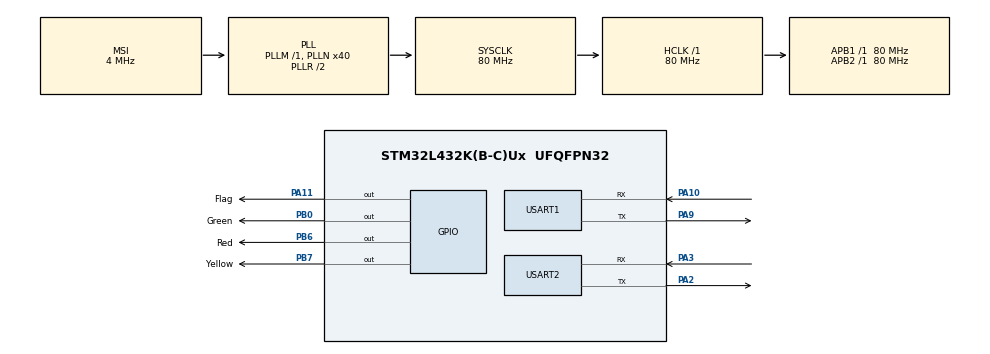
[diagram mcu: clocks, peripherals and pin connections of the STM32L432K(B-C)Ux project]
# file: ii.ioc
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FREERTOS.Tasks01=defaultTask,24,128,StartDefaultTask,Default,NULL,Dynamic,NULL,NULL;TrafficLights,8,128,StartTask02,Default,NULL,Dynamic,NULL,NULL;myTask03,46,128,Answer,Default,NULL,Dynamic,NULL,NULL
Mcu.Family=STM32L4
Mcu.Name=STM32L432K(B-C)Ux
Mcu.Package=UFQFPN32
NVIC.PriorityGroup=NVIC_PRIORITYGROUP_4
NVIC.TIM1_UP_TIM16_IRQn=true\:15\:0\:false\:false\:true\:false\:false\:true
NVIC.TimeBase=TIM1_UP_TIM16_IRQn
NVIC.TimeBaseIP=TIM1
NVIC.USART1_IRQn=true\:5\:0\:false\:false\:true\:true\:true\:true
NVIC.USART2_IRQn=true\:5\:0\:false\:false\:true\:true\:true\:true
PA10.Mode=Asynchronous
PA10.Signal=USART1_RX
PA11.GPIO_Label=Flag
PA11.Signal=GPIO_Output
PA13\ (JTMS-SWDIO).Mode=Serial_Wire
PA13\ (JTMS-SWDIO).Signal=SYS_JTMS-SWDIO
PA14\ (JTCK-SWCLK).Mode=Serial_Wire
PA14\ (JTCK-SWCLK).Signal=SYS_JTCK-SWCLK
PA2.Mode=Asynchronous
PA2.Signal=USART2_TX
PA3.Mode=Asynchronous
PA3.Signal=USART2_RX
PA9.Mode=Asynchronous
PA9.Signal=USART1_TX
PB0.GPIO_Label=Green
PB0.Signal=GPIO_Output
PB6.GPIO_Label=Red
PB6.Signal=GPIO_Output
PB7.GPIO_Label=Yellow
PB7.Signal=GPIO_Output
PC14-OSC32_IN\ (PC14).Mode=LSE-External-Oscillator
PC14-OSC32_IN\ (PC14).Signal=RCC_OSC32_IN
PC15-OSC32_OUT\ (PC15).Mode=LSE-External-Oscillator
PC15-OSC32_OUT\ (PC15).Signal=RCC_OSC32_OUT
ProjectManager.HeapSize=0x200
ProjectManager.StackSize=0x400
ProjectManager.TargetToolchain=STM32CubeIDE
RCC.AHBFreq_Value=80000000
RCC.APB1Freq_Value=80000000
RCC.APB1TimFreq_Value=80000000
RCC.APB2Freq_Value=80000000
RCC.APB2TimFreq_Value=80000000
RCC.CortexFreq_Value=80000000
RCC.HCLKFreq_Value=80000000
RCC.HSE_VALUE=8000000
RCC.HSI48_VALUE=48000000
RCC.HSI_VALUE=16000000
RCC.MSI_VALUE=4000000
RCC.PLLN=40
RCC.SYSCLKFreq_VALUE=80000000
RCC.SYSCLKSource=RCC_SYSCLKSOURCE_PLLCLK
RCC.VCOOutputFreq_Value=160000000
USART1.VirtualMode-Asynchronous=VM_ASYNC
USART2.VirtualMode-Asynchronous=VM_ASYNC
VP_FREERTOS_VS_CMSIS_V2.Mode=CMSIS_V2
VP_SYS_VS_tim1.Mode=TIM1
board=custom

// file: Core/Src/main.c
/* USER CODE BEGIN Header */
/**
  ******************************************************************************
  * @file           : main.c
  * @brief          : Main program body
  ******************************************************************************
  * @attention
  *
  * Copyright (c) 2021 STMicroelectronics.
  * All rights reserved.
  *
  * This software is licensed under terms that can be found in the LICENSE file
  * in the root directory of this software component.
  * If no LICENSE file comes with this software, it is provided AS-IS.
  *
  ******************************************************************************
  */
/* USER CODE END Header */
#include "main.h"
#include "cmsis_os.h"

/* USER CODE BEGIN Includes */
#include <stdio.h>
#include <string.h>
/* USER CODE END Includes */

/* USER CODE BEGIN PD */
#define GREEN_ON_TIME 	3000
#define YELLOW_ON_TIME 	1000
#define RED_ON_TIME 	3000
#define AT_BUFFER 		20
#define AT_CMGF_BUFFER 	20
#define AT_CNMI_BUFFER	30
#define OK_BUFFER		200
#define MESSAGE_BUFFER	200
#define TRANSMIT_DELAY	3000
#define LEDS_DELAY		3000
/* USER CODE END PD */

UART_HandleTypeDef huart1;
UART_HandleTypeDef huart2;

/* Definitions for Normal_Traffic */
osThreadId_t Normal_TrafficHandle;
const osThreadAttr_t Normal_Traffic_attributes = {
  .name = "Normal_Traffic",
  .stack_size = 128 * 4,
  .priority = (osPriority_t) osPriorityNormal,
};
/* Definitions for TrafficLights */
osThreadId_t TrafficLightsHandle;
const osThreadAttr_t TrafficLights_attributes = {
  .name = "TrafficLights",
  .stack_size = 128 * 4,
  .priority = (osPriority_t) osPriorityLow,
};
/* Definitions for Override */
osThreadId_t OverrideHandle;
const osThreadAttr_t Override_attributes = {
  .name = "Override",
  .stack_size = 128 * 4,
  .priority = (osPriority_t) osPriorityHigh6,
};
/* USER CODE BEGIN PV */
char AT[AT_BUFFER];
//int		AT;
char AT_CMGF[AT_CMGF_BUFFER];
//int 	AT_CMGF;
char AT_CNMI[AT_CNMI_BUFFER];
//int 	AT_CNMI;
uint8_t ATisOK = 1;
//uint8_t slot = 0;
uint8_t OK_AT[OK_BUFFER] = { 0 };
uint8_t OK_AT_CMGF[OK_BUFFER] = { 0 };
uint8_t message_1[MESSAGE_BUFFER] = { 0 };
uint8_t message_2[MESSAGE_BUFFER] = { 0 };
//uint8_t rx_index = 0;
//uint8_t rx_data;
int rounds = 0;
int parser = 0;
int mode = 1;
/* USER CODE END PV */

void SystemClock_Config(void);
static void MX_GPIO_Init(void);
static void MX_USART1_UART_Init(void);
static void MX_USART2_UART_Init(void);
void StartDefaultTask(void *argument);
void StartTask02(void *argument);
void Answer(void *argument);

/* USER CODE BEGIN 0 */

void traffic_lights_on(int rounds)
{
	switch (rounds % 4) {
	case 0:
		HAL_GPIO_WritePin(GPIOB, Red_Pin | Yellow_Pin, GPIO_PIN_RESET);
		HAL_GPIO_WritePin(GPIOB, Green_Pin, GPIO_PIN_SET);
		HAL_Delay(GREEN_ON_TIME);
		break;
	case 1:
	case 3:
		HAL_GPIO_WritePin(GPIOB, Red_Pin | Green_Pin, GPIO_PIN_RESET);
		HAL_GPIO_WritePin(GPIOB, Yellow_Pin, GPIO_PIN_SET);
		HAL_Delay(YELLOW_ON_TIME);
		break;
	case 2:
		HAL_GPIO_WritePin(GPIOB, Yellow_Pin | Green_Pin, GPIO_PIN_RESET);
		HAL_GPIO_WritePin(GPIOB, Red_Pin, GPIO_PIN_SET);
		HAL_Delay(RED_ON_TIME);
		break;
	}
	//rounds++;
}

void AT_SEND_RECEIVE( UART_HandleTypeDef *huart1)
{
	mode = 1;
	snprintf(AT, AT_BUFFER, "AT\r\n");
	HAL_UART_Transmit(&*huart1, (uint8_t*) AT, AT_BUFFER, TRANSMIT_DELAY);
	HAL_Delay(TRANSMIT_DELAY);
	HAL_UART_Receive_IT(&*huart1, OK_AT, OK_BUFFER);
}

void AT_CMGF_SEND_RECEIVE(UART_HandleTypeDef *huart1)
{
	mode = 2;
	snprintf(AT_CMGF, AT_CMGF_BUFFER, "AT+CMGF=1\r\n");
	HAL_UART_Transmit(&*huart1, (uint8_t*) AT_CMGF, AT_CMGF_BUFFER,
			TRANSMIT_DELAY);
	HAL_Delay(2 * TRANSMIT_DELAY);
	HAL_UART_Receive_IT(&*huart1, OK_AT_CMGF, OK_BUFFER);
}

void AT_CNMI_SEND_RECEIVE(UART_HandleTypeDef *huart1)
{
	mode = 3;
	snprintf(AT_CNMI, AT_CNMI_BUFFER, "AT+CNMI=2,2,0,0,0\r\n");
	HAL_UART_Transmit(&*huart1, (uint8_t*) AT_CNMI, MESSAGE_BUFFER,
			TRANSMIT_DELAY);
	HAL_Delay(2 * TRANSMIT_DELAY);
	HAL_UART_Receive_IT(&*huart1, message_1, MESSAGE_BUFFER);
	HAL_UART_Receive_IT(&*huart1, message_2, MESSAGE_BUFFER);
}

void LEDS_ON()
{
	HAL_GPIO_WritePin(GPIOB, Green_Pin | Red_Pin | Yellow_Pin, GPIO_PIN_SET);
	HAL_Delay(3000);
}

void LEDS_OFF()
{
	HAL_GPIO_WritePin(GPIOB, Green_Pin | Red_Pin | Yellow_Pin, GPIO_PIN_RESET);
	HAL_Delay(3000);
}

void GREEN_WAVE(int time)
{
	HAL_GPIO_WritePin(GPIOB, Red_Pin | Yellow_Pin, GPIO_PIN_RESET);
	HAL_GPIO_WritePin(GPIOB, Green_Pin, GPIO_PIN_SET);
	HAL_Delay(time);
}

/* USER CODE END 0 */

int main(void)
{

  /* MCU Configuration--------------------------------------------------------*/

  /* Reset of all peripherals, Initializes the Flash interface and the Systick. */
  HAL_Init();

  /* Configure the system clock */
  SystemClock_Config();

  /* Initialize all configured peripherals */
  MX_GPIO_Init();
  MX_USART1_UART_Init();
  MX_USART2_UART_Init();

  /* Init scheduler */
  osKernelInitialize();

  /* Create the thread(s) */
  /* creation of Normal_Traffic */
  Normal_TrafficHandle = osThreadNew(StartDefaultTask, NULL, &Normal_Traffic_attributes);

  /* creation of TrafficLights */
  TrafficLightsHandle = osThreadNew(StartTask02, NULL, &TrafficLights_attributes);

  /* creation of Override */
  OverrideHandle = osThreadNew(Answer, NULL, &Override_attributes);

  /* Start scheduler */
  osKernelStart();

  /* We should never get here as control is now taken by the scheduler */
  /* Infinite loop */
  while (1)
  {

  }
}

void SystemClock_Config(void)
{
  RCC_OscInitTypeDef RCC_OscInitStruct = {0};
  RCC_ClkInitTypeDef RCC_ClkInitStruct = {0};

  /** Configure the main internal regulator output voltage
  */
  if (HAL_PWREx_ControlVoltageScaling(PWR_REGULATOR_VOLTAGE_SCALE1) != HAL_OK)
  {
    Error_Handler();
  }
  /** Configure LSE Drive Capability
  */
  HAL_PWR_EnableBkUpAccess();
  __HAL_RCC_LSEDRIVE_CONFIG(RCC_LSEDRIVE_LOW);
  /** Initializes the RCC Oscillators according to the specified parameters
  * in the RCC_OscInitTypeDef structure.
  */
  RCC_OscInitStruct.OscillatorType = RCC_OSCILLATORTYPE_LSE|RCC_OSCILLATORTYPE_MSI;
  RCC_OscInitStruct.LSEState = RCC_LSE_ON;
  RCC_OscInitStruct.MSIState = RCC_MSI_ON;
  RCC_OscInitStruct.MSICalibrationValue = 0;
  RCC_OscInitStruct.MSIClockRange = RCC_MSIRANGE_6;
  RCC_OscInitStruct.PLL.PLLState = RCC_PLL_ON;
  RCC_OscInitStruct.PLL.PLLSource = RCC_PLLSOURCE_MSI;
  RCC_OscInitStruct.PLL.PLLM = 1;
  RCC_OscInitStruct.PLL.PLLN = 40;
  RCC_OscInitStruct.PLL.PLLP = RCC_PLLP_DIV7;
  RCC_OscInitStruct.PLL.PLLQ = RCC_PLLQ_DIV2;
  RCC_OscInitStruct.PLL.PLLR = RCC_PLLR_DIV2;
  if (HAL_RCC_OscConfig(&RCC_OscInitStruct) != HAL_OK)
  {
    Error_Handler();
  }
  /** Initializes the CPU, AHB and APB buses clocks
  */
  RCC_ClkInitStruct.ClockType = RCC_CLOCKTYPE_HCLK|RCC_CLOCKTYPE_SYSCLK
                              |RCC_CLOCKTYPE_PCLK1|RCC_CLOCKTYPE_PCLK2;
  RCC_ClkInitStruct.SYSCLKSource = RCC_SYSCLKSOURCE_PLLCLK;
  RCC_ClkInitStruct.AHBCLKDivider = RCC_SYSCLK_DIV1;
  RCC_ClkInitStruct.APB1CLKDivider = RCC_HCLK_DIV1;
  RCC_ClkInitStruct.APB2CLKDivider = RCC_HCLK_DIV1;

  if (HAL_RCC_ClockConfig(&RCC_ClkInitStruct, FLASH_LATENCY_4) != HAL_OK)
  {
    Error_Handler();
  }
  /** Enable MSI Auto calibration
  */
  HAL_RCCEx_EnableMSIPLLMode();
}

static void MX_USART1_UART_Init(void)
{

  huart1.Instance = USART1;
  huart1.Init.BaudRate = 115200;
  huart1.Init.WordLength = UART_WORDLENGTH_8B;
  huart1.Init.StopBits = UART_STOPBITS_1;
  huart1.Init.Parity = UART_PARITY_NONE;
  huart1.Init.Mode = UART_MODE_TX_RX;
  huart1.Init.HwFlowCtl = UART_HWCONTROL_NONE;
  huart1.Init.OverSampling = UART_OVERSAMPLING_16;
  huart1.Init.OneBitSampling = UART_ONE_BIT_SAMPLE_DISABLE;
  huart1.AdvancedInit.AdvFeatureInit = UART_ADVFEATURE_NO_INIT;
  if (HAL_UART_Init(&huart1) != HAL_OK)
  {
    Error_Handler();
  }

}

static void MX_USART2_UART_Init(void)
{

  huart2.Instance = USART2;
  huart2.Init.BaudRate = 115200;
  huart2.Init.WordLength = UART_WORDLENGTH_8B;
  huart2.Init.StopBits = UART_STOPBITS_1;
  huart2.Init.Parity = UART_PARITY_NONE;
  huart2.Init.Mode = UART_MODE_TX_RX;
  huart2.Init.HwFlowCtl = UART_HWCONTROL_NONE;
  huart2.Init.OverSampling = UART_OVERSAMPLING_16;
  huart2.Init.OneBitSampling = UART_ONE_BIT_SAMPLE_DISABLE;
  huart2.AdvancedInit.AdvFeatureInit = UART_ADVFEATURE_NO_INIT;
  if (HAL_UART_Init(&huart2) != HAL_OK)
  {
    Error_Handler();
  }

}

static void MX_GPIO_Init(void)
{
  GPIO_InitTypeDef GPIO_InitStruct = {0};

  /* GPIO Ports Clock Enable */
  __HAL_RCC_GPIOC_CLK_ENABLE();
  __HAL_RCC_GPIOA_CLK_ENABLE();
  __HAL_RCC_GPIOB_CLK_ENABLE();

  /*Configure GPIO pin Output Level */
  HAL_GPIO_WritePin(GPIOB, Green_Pin|Red_Pin|Yellow_Pin, GPIO_PIN_RESET);

  /*Configure GPIO pin Output Level */
  HAL_GPIO_WritePin(Flag_GPIO_Port, Flag_Pin, GPIO_PIN_RESET);

  /*Configure GPIO pins : Green_Pin Red_Pin Yellow_Pin */
  GPIO_InitStruct.Pin = Green_Pin|Red_Pin|Yellow_Pin;
  GPIO_InitStruct.Mode = GPIO_MODE_OUTPUT_PP;
  GPIO_InitStruct.Pull = GPIO_NOPULL;
  GPIO_InitStruct.Speed = GPIO_SPEED_FREQ_LOW;
  HAL_GPIO_Init(GPIOB, &GPIO_InitStruct);

  /*Configure GPIO pin : Flag_Pin */
  GPIO_InitStruct.Pin = Flag_Pin;
  GPIO_InitStruct.Mode = GPIO_MODE_OUTPUT_PP;
  GPIO_InitStruct.Pull = GPIO_NOPULL;
  GPIO_InitStruct.Speed = GPIO_SPEED_FREQ_LOW;
  HAL_GPIO_Init(Flag_GPIO_Port, &GPIO_InitStruct);

}

/* USER CODE BEGIN 4 */
void HAL_UART_RxCpltCallback(UART_HandleTypeDef *huart)
{
  if (huart->Instance == USART1)
  {
	  switch(mode)
	  {
	  case 1:
		  if( OK_AT == "OK")
		  {
			  mode = 2;
		  }
	  	break;
	  case 2:
		  if( OK_AT_CMGF == "OK")
		  {
			  mode = 3;
		  }
		  break;
	  case 3:
	  default:
		  if( message_2 == "pass")
		  {
			  mode = 4;
		  }
		  break;
	  }
//    /* Transmit one byte with 100 ms timeout */
//    HAL_UART_Transmit(&huart1, &byte, 1, 100);
//
//    /* Receive one byte in interrupt mode */
//    HAL_UART_Receive_IT(&huart1, &byte, 1);
  }
}
/* USER CODE END 4 */

void StartDefaultTask(void *argument)
{
  /* USER CODE BEGIN 5 */
  /* Infinite loop */
  for(;;)
  {
	traffic_lights_on(rounds);
	rounds++;
	//HAL_UART_Transmit(&huart2, "Test ", 6, 200);
	AT_SEND_RECEIVE(&huart1);
//	HAL_UART_

    osDelay(1);
  }
  /* USER CODE END 5 */
}

void StartTask02(void *argument)
{
  /* USER CODE BEGIN StartTask02 */
  /* Infinite loop */
  for(;;)
  {
	  switch(mode)
	  	  {
	  	  case 1:
	  			  AT_CMGF_SEND_RECEIVE(&huart1);
	  			  break;
	  	  case 2:
	  			  AT_CNMI_SEND_RECEIVE(&huart1);
	  			  break;
	  	  case 3:
	  			  AT_CNMI_SEND_RECEIVE(&huart1);
	  			  break;
	  	  case 4:
	  		  	  GREEN_WAVE(5000);
	  		  	  break;
	  	  default:
	  		  	  break;
	  	  }

	  osDelay(1);
  }
  /* USER CODE END StartTask02 */
}

void Answer(void *argument)
{
  for(;;)
  {
    osDelay(1);
  }
}

void HAL_TIM_PeriodElapsedCallback(TIM_HandleTypeDef *htim)
{
  if (htim->Instance == TIM1) {
    HAL_IncTick();
  }
}

void Error_Handler(void)
{
  __disable_irq();
  while (1)
  {
  }
}
